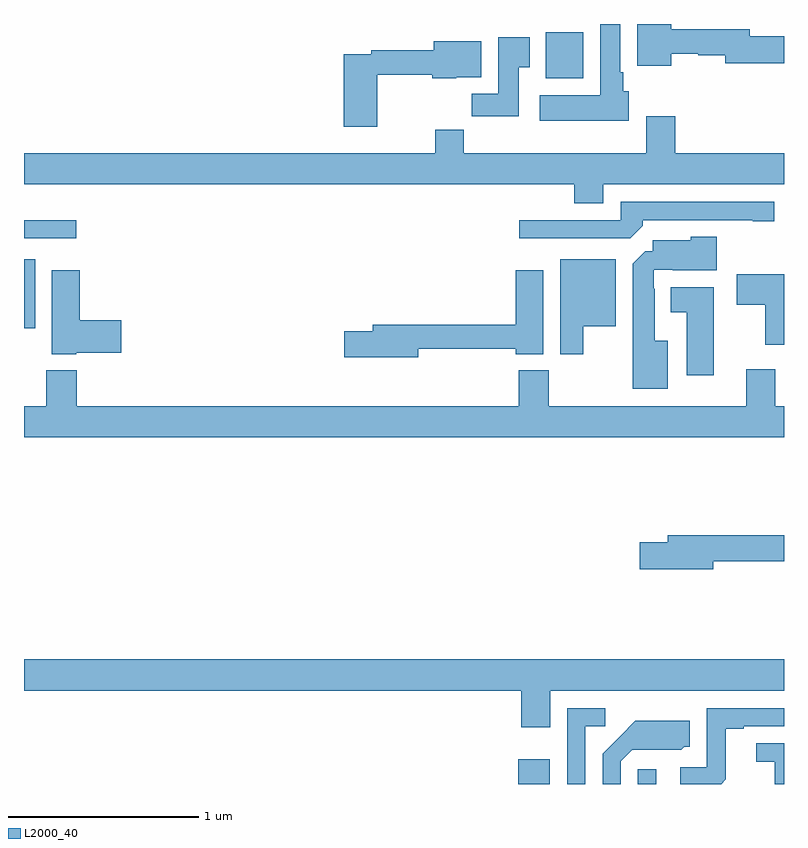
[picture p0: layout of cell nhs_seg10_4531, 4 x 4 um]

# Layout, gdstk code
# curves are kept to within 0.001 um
import gdstk
lib = gdstk.Library(unit=1e-6, precision=1e-09)
def R(c, l, rs):  # rectangles x0, y0, x1, y1
    for r in rs: c.add(gdstk.rectangle(r[:2], r[2:], *l))
def P(c, l, *ps):  # polygons
    for p in ps: c.add(gdstk.Polygon(p, *l))
L2000_40 = (2000, 40)

nhs_seg10_4531 = lib.new_cell('nhs_seg10_4531')
R(nhs_seg10_4531, L2000_40, [(371.6,1290.5,371.767,1290.631), (372.231,1290.5,372.327,1290.577), (369,1292.9,369.058,1293.262), (369,1293.372,369.274,1293.468), (371.747,1294.214,371.944,1294.456)])
P(nhs_seg10_4531, L2000_40, [(372.406,1294.344),(372.549,1294.344),(372.549,1294.336),(372.692,1294.336),(372.692,1294.294),(373,1294.294),(373,1294.436),(372.82,1294.436),(372.82,1294.472),(372.406,1294.472),(372.406,1294.5),(372.227,1294.5),(372.227,1294.28),(372.406,1294.28)],
  [(372.184,1294.146),(372.154,1294.146),(372.154,1294.246),(372.139,1294.246),(372.139,1294.5),(372.032,1294.5),(372.032,1294.126),(371.715,1294.126),(371.715,1293.992),(372.184,1293.992)],
  [(371.605,1294.273),(371.662,1294.273),(371.662,1294.429),(371.495,1294.429),(371.495,1294.132),(371.356,1294.132),(371.356,1294.014),(371.605,1294.014)],
  [(370.86,1294.233),(371.149,1294.233),(371.149,1294.214),(371.274,1294.214),(371.274,1294.22),(371.407,1294.22),(371.407,1294.408),(371.156,1294.408),(371.156,1294.361),(370.828,1294.361),(370.828,1294.341),(370.682,1294.341),(370.682,1293.96),(370.86,1293.96)],
  [(372.049,1293.656),(373,1293.656),(373,1293.82),(372.428,1293.82),(372.428,1294.015),(372.275,1294.015),(372.275,1293.82),(371.315,1293.82),(371.315,1293.944),(371.164,1293.944),(371.164,1293.82),(369,1293.82),(369,1293.656),(371.897,1293.656),(371.897,1293.557),(372.049,1293.557)],
  [(372.257,1293.437),(372.257,1293.468),(372.836,1293.468),(372.836,1293.463),(372.949,1293.463),(372.949,1293.564),(372.141,1293.564),(372.141,1293.468),(371.607,1293.468),(371.607,1293.372),(372.191,1293.372)],
  [(372.388,1292.833),(372.319,1292.833),(372.319,1293.107),(372.315,1293.107),(372.315,1293.207),(372.415,1293.207),(372.415,1293.203),(372.646,1293.203),(372.646,1293.379),(372.51,1293.379),(372.51,1293.361),(372.308,1293.361),(372.308,1293.304),(372.269,1293.304),(372.203,1293.237),(372.203,1292.579),(372.388,1292.579)],
  [(371.944,1292.909),(372.115,1292.909),(372.115,1293.262),(371.822,1293.262),(371.822,1292.763),(371.944,1292.763)],
  [(369.276,1292.771),(369.511,1292.771),(369.511,1292.942),(369.293,1292.942),(369.293,1293.205),(369.146,1293.205),(369.146,1292.762),(369.276,1292.762)],
  [(371.074,1292.79),(371.588,1292.79),(371.588,1292.762),(371.734,1292.762),(371.734,1293.205),(371.588,1293.205),(371.588,1292.918),(370.835,1292.918),(370.835,1292.882),(370.686,1292.882),(370.686,1292.747),(371.074,1292.747)],
  [(373,1293.184),(372.75,1293.184),(372.75,1293.022),(372.902,1293.022),(372.902,1292.811),(373,1292.811)],
  [(372.631,1293.115),(372.404,1293.115),(372.404,1292.984),(372.488,1292.984),(372.488,1292.652),(372.631,1292.652)],
  [(373,1292.488),(372.953,1292.488),(372.953,1292.683),(372.8,1292.683),(372.8,1292.488),(371.763,1292.488),(371.763,1292.677),(371.603,1292.677),(371.603,1292.488),(369.278,1292.488),(369.278,1292.677),(369.118,1292.677),(369.118,1292.488),(369,1292.488),(369,1292.324),(373,1292.324)],
  [(372.628,1291.672),(373,1291.672),(373,1291.808),(372.389,1291.808),(372.389,1291.772),(372.24,1291.772),(372.24,1291.63),(372.628,1291.63)],
  [(371.77,1290.992),(373,1290.992),(373,1291.156),(369,1291.156),(369,1290.992),(371.618,1290.992),(371.618,1290.798),(371.77,1290.798)],
  [(371.955,1290.804),(372.058,1290.804),(372.058,1290.9),(371.859,1290.9),(371.859,1290.5),(371.955,1290.5)],
  [(372.693,1290.524),(372.693,1290.792),(372.787,1290.792),(372.787,1290.804),(373,1290.804),(373,1290.9),(372.594,1290.9),(372.594,1290.588),(372.453,1290.588),(372.453,1290.5),(372.669,1290.5)],
  [(372.141,1290.621),(372.201,1290.681),(372.458,1290.68),(372.474,1290.696),(372.505,1290.696),(372.505,1290.832),(372.217,1290.832),(372.045,1290.658),(372.045,1290.5),(372.141,1290.5)],
  [(373,1290.714),(372.855,1290.714),(372.855,1290.617),(372.951,1290.617),(372.951,1290.5),(373,1290.5)])

lib.write_gds('nhs_seg10_4531.gds')
